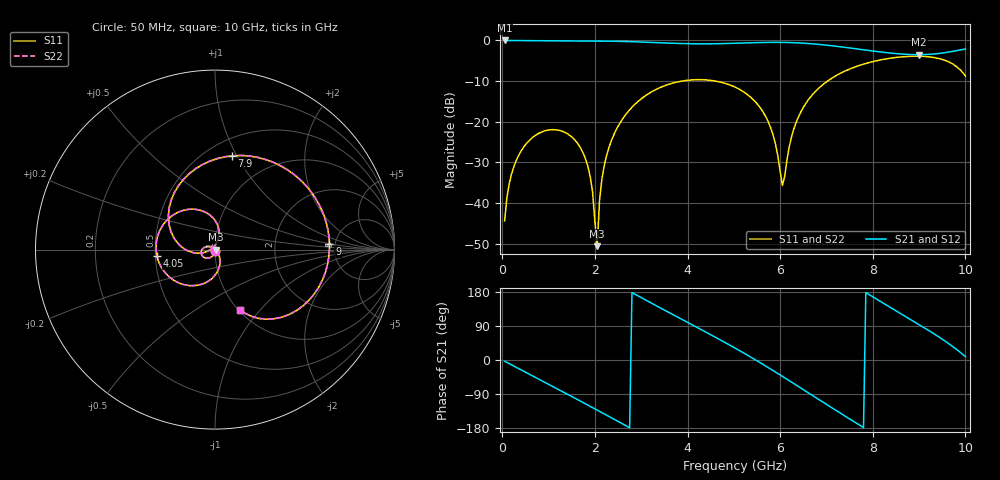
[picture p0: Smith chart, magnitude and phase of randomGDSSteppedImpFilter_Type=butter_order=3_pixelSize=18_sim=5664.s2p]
! freq	dB(S11)	phase(S11)	dB(S12)	phase(S12)
!  dB(S21)	phase(S21)	dB(S22)	phase(S22)
!S-par simulation data
#  GHz  S  DB  R 50
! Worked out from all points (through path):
!   200 points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, 50 MHz to 10 GHz, reference 50 ohm
!   highest |S21| = -0.02 dB at 50 MHz (marker M1); lowest = -3.5 dB at 9 GHz (marker M2)
!   group delay of S21, straight-line fit = 196 ps
!   lowest |S11| = -50.6 dB at 2.05 GHz (marker M3), VSWR 1.01, Z = 50.3 + j0.0206 ohm
!   |S11| at or under -10 dB: start of sweep to 3.881 GHz; 4.605 GHz to 7.024 GHz (2.419 GHz wide, 41.6 % of centre)
!   |S22| runs from -51.1 to -3.9 dB; largest |S21 - S12| = 0
!   S11 on the Smith chart (normalised r, x): 50 MHz: 1.00, -0.01; 4.05 GHz: 0.51, -0.04; 7.9 GHz: 0.66, +0.95; 9 GHz: 4.48, +0.47; 10 GHz: 1.02, -0.79
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0.05  -44.36 -76.9  -0.02 -3.3  -0.02 -3.3  -44.36 -76.9
0.25  -31.01 -103.4  -0.04 -16.1  -0.04 -16.1  -31.01 -103.3
0.65  -23.89 -131.9  -0.08 -41.8  -0.08 -41.8  -23.89 -131.7
1.25  -22.17 -171.3  -0.12 -80.2  -0.12 -80.2  -22.17 -170.8
1.75  -27.78 155.5  -0.14 -112.6  -0.14 -112.6  -27.78 157.0
1.95  -37.31 139.8  -0.15 -125.7  -0.15 -125.7  -37.31 144.8
2.05  -50.57 4.0  -0.15 -132.2  -0.15 -132.2  -51.13 -91.2
2.15  -34.15 -46.9  -0.16 -138.8  -0.16 -138.8  -34.17 -50.7
2.35  -24.81 -61.9  -0.19 -152.1  -0.19 -152.1  -24.82 -63.3
3.4  -11.63 -132.0  -0.59 138.2  -0.59 138.2  -11.63 -132.2
4.05  -9.75 -173.9  -0.82 96.1  -0.82 96.1  -9.75 -173.9
5.05  -11.61 120.9  -0.70 29.8  -0.70 29.8  -11.61 121.1
5.7  -18.99 78.7  -0.50 -16.8  -0.50 -16.8  -18.99 79.1
6.05  -35.65 126.5  -0.49 -43.3  -0.49 -43.3  -35.55 127.0
6.3  -21.61 -166.5  -0.57 -62.5  -0.57 -62.5  -21.60 -166.3
6.7  -13.32 168.9  -0.85 -93.7  -0.85 -93.7  -13.32 169.3
7.35  -7.81 120.5  -1.64 -144.1  -1.64 -144.1  -7.81 121.0
7.9  -5.51 79.9  -2.46 174.2  -2.46 174.2  -5.52 80.5
8.35  -4.44 47.7  -3.08 140.9  -3.08 140.9  -4.44 48.3
9  -3.90 2.8  -3.51 93.4  -3.51 93.4  -3.90 3.3
9.55  -4.86 -35.7  -3.04 50.9  -3.04 50.9  -4.87 -35.4
10  -8.76 -67.3  -2.12 9.0  -2.12 9.0  -8.79 -67.4
